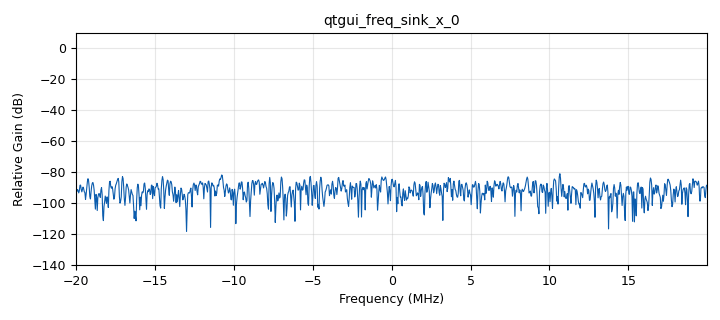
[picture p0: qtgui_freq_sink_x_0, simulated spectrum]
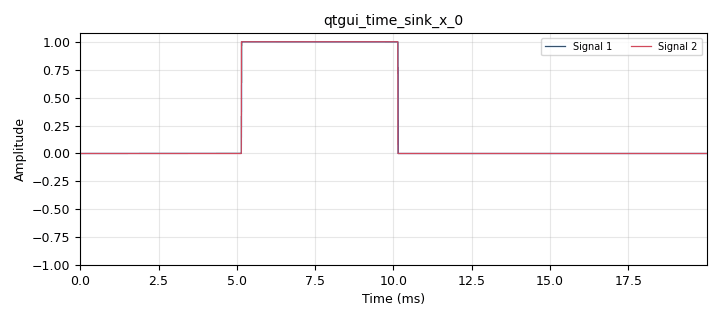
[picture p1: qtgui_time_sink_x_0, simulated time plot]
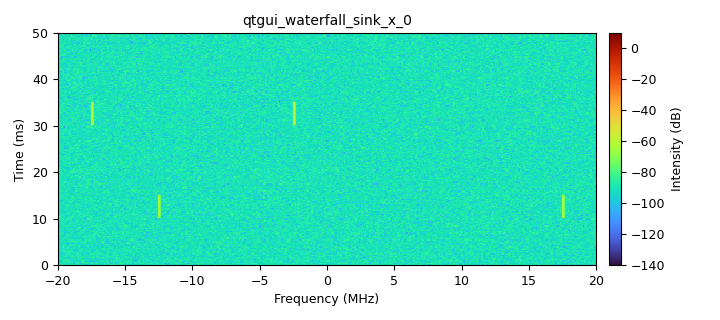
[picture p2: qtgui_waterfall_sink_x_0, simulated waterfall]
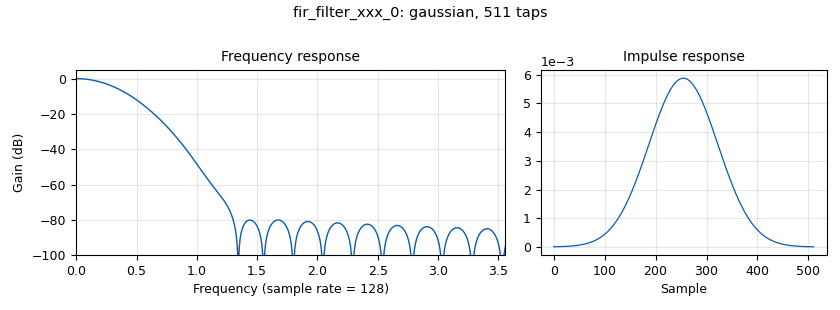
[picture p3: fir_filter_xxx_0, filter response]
options:
  parameters:
    author: jacob
    generate_options: qt_gui
    id: datagen
    output_language: python
    title: Data Generator
  states: {}

blocks:
- name: a
  id: variable
  parameters:
    value: pow(10, sig_ampl/20)
  states: {}
- name: c
  id: variable
  parameters:
    value: noise_ampl + 10*np.log10(1.0*samp_rate)
  states: {}
- name: prf
  id: variable
  parameters:
    value: '50'
  states: {}
- name: analog_fastnoise_source_x_0
  id: analog_fastnoise_source_x
  parameters:
    amp: pow(10,(c)/20)
    noise_type: analog.GR_GAUSSIAN
    samples: '8192'
    seed: '0'
    type: complex
  states: {}
- name: analog_frequency_modulator_fc_0
  id: analog_frequency_modulator_fc
  parameters:
    sensitivity: M_PI/8
  states: {}
- name: analog_frequency_modulator_fc_0_0
  id: analog_frequency_modulator_fc
  parameters:
    sensitivity: M_PI/8
  states: {}
- name: blocks_add_xx_0
  id: blocks_add_xx
  parameters:
    num_inputs: '3'
    type: complex
  states: {}
- name: blocks_file_sink_0
  id: blocks_file_sink
  parameters:
    file: /data/synth.sc16
    type: short
  states: {}
- name: blocks_float_to_complex_0
  id: blocks_float_to_complex
  parameters: {}
  states: {}
- name: blocks_head_0
  id: blocks_head
  parameters:
    num_items: int(nsamps)
    type: complex
  states: {}
- name: blocks_multiply_const_vxx_0
  id: blocks_multiply_const_vxx
  parameters:
    const: a
    type: complex
  states: {}
- name: blocks_multiply_const_vxx_0_0
  id: blocks_multiply_const_vxx
  parameters:
    const: a
    type: complex
  states: {}
- name: blocks_multiply_xx_0
  id: blocks_multiply_xx
  parameters:
    type: complex
  states: {}
- name: blocks_multiply_xx_0_0
  id: blocks_multiply_xx
  parameters:
    type: complex
  states: {}
- name: blocks_multiply_xx_0_0_0
  id: blocks_multiply_xx
  parameters:
    type: complex
  states: {}
- name: blocks_repeat_0
  id: blocks_repeat
  parameters:
    interp: int(samp_rate/prf/4)
    type: float
  states: {}
- name: blocks_repeat_0_1
  id: blocks_repeat
  parameters:
    interp: int(samp_rate/prf)
    type: float
  states: {}
- name: blocks_repeat_0_1_0
  id: blocks_repeat
  parameters:
    interp: int(samp_rate/prf)
    type: float
  states: {}
- name: blocks_throttle_0
  id: blocks_throttle
  parameters:
    samples_per_second: samp_rate/10
    type: complex
  states: {}
- name: blocks_vector_source_x_0
  id: blocks_vector_source_x
  parameters:
    repeat: 'True'
    type: float
    vector: '[0,0,1,0]'
  states: {}
- name: blocks_vector_source_x_0_0
  id: blocks_vector_source_x
  parameters:
    repeat: 'True'
    type: complex
    vector: '[1]'
  states: {}
- name: blocks_vector_source_x_0_1
  id: blocks_vector_source_x
  parameters:
    repeat: 'True'
    type: float
    vector: '[7, -7, 1, 5, -3, -5, -1]'
  states: {}
- name: blocks_vector_source_x_0_1_0
  id: blocks_vector_source_x
  parameters:
    repeat: 'True'
    type: float
    vector: '[-5, -1, 7, -7, 1, 5, -3]'
  states: {}
- name: fir_filter_xxx_0
  id: fir_filter_xxx
  parameters:
    decim: '1'
    taps: firdes.gaussian(1, 128, .25, 511)
    type: fff
  states: {}
- name: import_0
  id: import
  parameters:
    imports: from math import pi as M_PI
  states: {}
- name: import_0_0
  id: import
  parameters:
    imports: import numpy as np
  states: {}
- name: noise_ampl
  id: parameter
  parameters:
    label: Noise Floor
    short_id: n
    type: eng_float
    value: '-130'
  states: {}
- name: note_0
  id: note
  parameters:
    comment: |-
      This flowgraph can be used to generate a synthetic dataset for testing the
      FHSS Detector flowgraph. Run this flowgraph with the following specified:
      	- r	sample rate (used for setting noise amplitude)
      	-s	signal amplitude (units: dBFS)
      	-n	noise floor (units dBFS/Hz)
      	-N	number of samples to generate
    note: Usate
  states: {}
- name: nsamps
  id: parameter
  parameters:
    label: Number of Samples
    short_id: N
    type: eng_float
    value: 40e6
  states: {}
- name: qtgui_freq_sink_x_0
  id: qtgui_freq_sink_x
  parameters:
    bw: samp_rate
    fc: '0'
    fftsize: '1024'
    type: complex
    update_time: '0.001'
    wintype: firdes.WIN_BLACKMAN_hARRIS
  states: {}
- name: qtgui_time_sink_x_0
  id: qtgui_time_sink_x
  parameters:
    nconnections: '2'
    size: int(samp_rate / prf)
    srate: samp_rate
    type: float
  states: {}
- name: qtgui_waterfall_sink_x_0
  id: qtgui_waterfall_sink_x
  parameters:
    bw: samp_rate
    fc: '0'
    fftsize: '1024'
    type: complex
    update_time: '0.001'
    wintype: firdes.WIN_BLACKMAN_hARRIS
  states: {}
- name: samp_rate
  id: parameter
  parameters:
    label: Rate
    short_id: r
    type: eng_float
    value: '40000000'
  states: {}
- name: sandia_utils_complex_to_interleaved_short_0
  id: sandia_utils_complex_to_interleaved_short
  parameters:
    scale: '32767'
    vector_output: 'False'
  states: {}
- name: sig_ampl
  id: parameter
  parameters:
    label: Signal Amplitude
    short_id: s
    type: eng_float
    value: '-51'
  states: {}

connections:
- [analog_fastnoise_source_x_0, '0', blocks_add_xx_0, '2']
- [analog_frequency_modulator_fc_0, '0', blocks_multiply_xx_0_0, '0']
- [analog_frequency_modulator_fc_0_0, '0', blocks_multiply_xx_0_0_0, '0']
- [blocks_add_xx_0, '0', blocks_head_0, '0']
- [blocks_add_xx_0, '0', qtgui_freq_sink_x_0, '0']
- [blocks_add_xx_0, '0', qtgui_waterfall_sink_x_0, '0']
- [blocks_float_to_complex_0, '0', blocks_multiply_xx_0, '1']
- [blocks_head_0, '0', sandia_utils_complex_to_interleaved_short_0, '0']
- [blocks_multiply_const_vxx_0, '0', blocks_add_xx_0, '1']
- [blocks_multiply_const_vxx_0_0, '0', blocks_add_xx_0, '0']
- [blocks_multiply_xx_0, '0', blocks_multiply_xx_0_0, '1']
- [blocks_multiply_xx_0, '0', blocks_multiply_xx_0_0_0, '1']
- [blocks_multiply_xx_0_0, '0', blocks_multiply_const_vxx_0, '0']
- [blocks_multiply_xx_0_0_0, '0', blocks_multiply_const_vxx_0_0, '0']
- [blocks_repeat_0, '0', fir_filter_xxx_0, '0']
- [blocks_repeat_0, '0', qtgui_time_sink_x_0, '1']
- [blocks_repeat_0_1, '0', analog_frequency_modulator_fc_0, '0']
- [blocks_repeat_0_1_0, '0', analog_frequency_modulator_fc_0_0, '0']
- [blocks_throttle_0, '0', blocks_multiply_xx_0, '0']
- [blocks_vector_source_x_0, '0', blocks_repeat_0, '0']
- [blocks_vector_source_x_0_0, '0', blocks_throttle_0, '0']
- [blocks_vector_source_x_0_1, '0', blocks_repeat_0_1, '0']
- [blocks_vector_source_x_0_1_0, '0', blocks_repeat_0_1_0, '0']
- [fir_filter_xxx_0, '0', blocks_float_to_complex_0, '0']
- [fir_filter_xxx_0, '0', qtgui_time_sink_x_0, '0']
- [sandia_utils_complex_to_interleaved_short_0, '0', blocks_file_sink_0, '0']

metadata:
  file_format: 1
